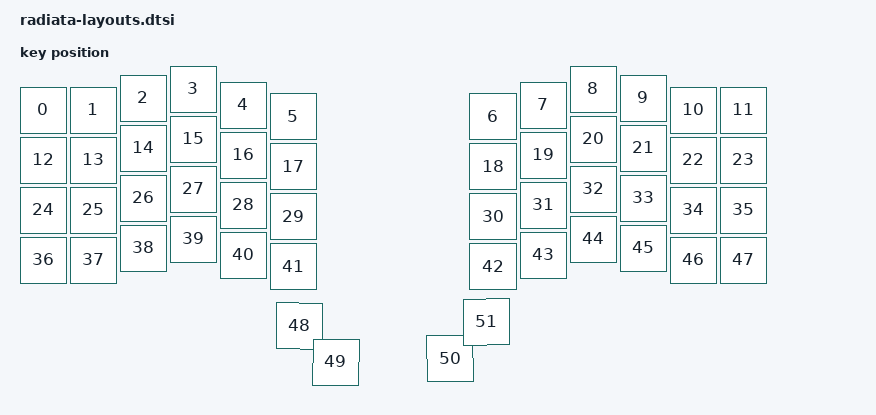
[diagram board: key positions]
#include <physical_layouts.dtsi>

/ {
    physical_layout0: physical_layout_0 {
        compatible = "zmk,physical-layout";
        display-name = "Default";


        keys  //                     w   h    x    y     rot    rx    ry
            = <&key_physical_attrs 100 100    0   42       0     0     0>
            , <&key_physical_attrs 100 100  100   42       0     0     0>
            , <&key_physical_attrs 100 100  200   18       0     0     0>
            , <&key_physical_attrs 100 100  300    0       0     0     0>
            , <&key_physical_attrs 100 100  400   32       0     0     0>
            , <&key_physical_attrs 100 100  500   55       0     0     0>
            , <&key_physical_attrs 100 100  900   55       0     0     0>
            , <&key_physical_attrs 100 100 1000   32       0     0     0>
            , <&key_physical_attrs 100 100 1100    0       0     0     0>
            , <&key_physical_attrs 100 100 1200   18       0     0     0>
            , <&key_physical_attrs 100 100 1300   42       0     0     0>
            , <&key_physical_attrs 100 100 1400   42       0     0     0>
            , <&key_physical_attrs 100 100    0  142       0     0     0>
            , <&key_physical_attrs 100 100  100  142       0     0     0>
            , <&key_physical_attrs 100 100  200  118       0     0     0>
            , <&key_physical_attrs 100 100  300  100       0     0     0>
            , <&key_physical_attrs 100 100  400  132       0     0     0>
            , <&key_physical_attrs 100 100  500  155       0     0     0>
            , <&key_physical_attrs 100 100  900  155       0     0     0>
            , <&key_physical_attrs 100 100 1000  132       0     0     0>
            , <&key_physical_attrs 100 100 1100  100       0     0     0>
            , <&key_physical_attrs 100 100 1200  118       0     0     0>
            , <&key_physical_attrs 100 100 1300  142       0     0     0>
            , <&key_physical_attrs 100 100 1400  142       0     0     0>
            , <&key_physical_attrs 100 100    0  242       0     0     0>
            , <&key_physical_attrs 100 100  100  242       0     0     0>
            , <&key_physical_attrs 100 100  200  218       0     0     0>
            , <&key_physical_attrs 100 100  300  200       0     0     0>
            , <&key_physical_attrs 100 100  400  232       0     0     0>
            , <&key_physical_attrs 100 100  500  255       0     0     0>
            , <&key_physical_attrs 100 100  900  255       0     0     0>
            , <&key_physical_attrs 100 100 1000  232       0     0     0>
            , <&key_physical_attrs 100 100 1100  200       0     0     0>
            , <&key_physical_attrs 100 100 1200  218       0     0     0>
            , <&key_physical_attrs 100 100 1300  242       0     0     0>
            , <&key_physical_attrs 100 100 1400  242       0     0     0>
            , <&key_physical_attrs 100 100    0  342       0     0     0>
            , <&key_physical_attrs 100 100  100  342       0     0     0>
            , <&key_physical_attrs 100 100  200  318       0     0     0>
            , <&key_physical_attrs 100 100  300  300       0     0     0>
            , <&key_physical_attrs 100 100  400  332       0     0     0>
            , <&key_physical_attrs 100 100  500  355       0     0     0>
            , <&key_physical_attrs 100 100  900  355       0     0     0>
            , <&key_physical_attrs 100 100 1000  332       0     0     0>
            , <&key_physical_attrs 100 100 1100  300       0     0     0>
            , <&key_physical_attrs 100 100 1200  318       0     0     0>
            , <&key_physical_attrs 100 100 1300  342       0     0     0>
            , <&key_physical_attrs 100 100 1400  342       0     0     0>
            , <&key_physical_attrs 100 100  516  471      30     0     0>
            , <&key_physical_attrs 100 100  589  543      30     0     0>
            , <&key_physical_attrs 100 100  811  543     -30     0     0>
            , <&key_physical_attrs 100 100  884  471     -30     0     0>
            ;
    };
};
